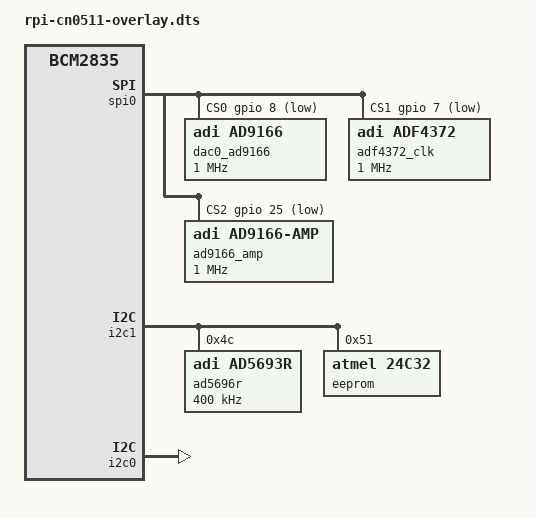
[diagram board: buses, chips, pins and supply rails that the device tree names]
// SPDX-License-Identifier: GPL-2.0
/dts-v1/;
/plugin/;

/ {
	compatible = "brcm,bcm2836", "brcm,bcm2835";

	fragment@0 {
		target-path = "/clocks";
		__overlay__ {
			adf4372_clkin: clock@0 {
				compatible = "fixed-clock";
				#clock-cells = <0>;
				clock-frequency = <122880000>;
				clock-output-names = "clkin";
			};
		};
	};

	fragment@1 {
		target = <&spi0_cs_pins>;
		frag0: __overlay__ {
				brcm,pins = <8 7 25>;
				brcm,function = <1>; //output
		};
	};

	fragment@2 {
		target = <&spi0>;
		frag1: __overlay__ {
			#address-cells = <1>;
			#size-cells = <0>;

			cs-gpios = <&gpio 8 1>, <&gpio 7 1>, <&gpio 25 1>;
			status = "okay";

			dac0_ad9166: ad9166@0 {
				compatible = "adi,ad9166";
				reg = <0>;
				spi-max-frequency = <1000000>;
				clocks = <&adf4372_clk 0>;
				clock-names = "dac_clk";
				spi-cpha;
				spi-cpol;
				adi,standalone-probe;
				adi,dc-test-en;
				dac_clk-clock-scales = <1 10>;
			};

			adf4372_clk: adf4372@1 {
				compatible = "adi,adf4372";
				reg = <1>;

				#address-cells = <1>;
				#clock-cells = <1>;
				#size-cells = <0>;

				spi-max-frequency = <1000000>;
				spi-3wire;
				clocks = <&adf4372_clkin>;
				clock-names = "clkin";
				clock-output-names = "clk-rf8", "clk-rfaux8",
						"clk-rf16";

				adi,muxout-select = <1>;

				channel@0 {
					reg = <0>;
					adi,power-up-frequency = /bits/ 64
								<6000000000>;
				};
			};

			ad9166_amp: ad9166-amp@2 {
				compatible = "adi,ad9166-amp";
				reg = <2>;	// CE2 - gpio25
				spi-cpha;
				spi-cpol;
				spi-max-frequency = <1000000>;
			};
		};
	};

	fragment@3 {
		target = <&spidev0>;
		__overlay__ {
			status = "disabled";
		};
	};

	fragment@4 {
		target = <&spidev1>;
		__overlay__ {
			status = "disabled";
		};
	};

	fragment@5 {
		target = <&i2c1>;
		__overlay__ {
			#address-cells = <1>;
			#size-cells = <0>;
			status = "okay";

			ad5696r@4c {
				compatible = "adi,ad5693r";
				clock-frequency = <400000>;
				reg = <0x4c>;
			};

			eeprom@51 {
				compatible = "atmel,24c32";
				reg = <0x51>;
			};
		};
	};

	fragment@6 {
		target = <&i2c0>;
		__overlay__ {
			#address-cells = <1>;
			#size-cells = <0>;
			status = "okay";
		};
	};

	/* ====== RPi5 Configuration (spi-gpio, 3-wire mode) ====== */

	/* RPi5: Disable hardware SPI0 */
	fragment@10 {
		target = <&spi0>;
		__dormant__ {
			status = "disabled";
		};
	};

	/* RPi5: SPI-GPIO bus with 3-wire mode */
	fragment@11 {
		target-path = "/";
		__dormant__ {
			spi_cn0511: spi-cn0511 {
				compatible = "spi-gpio";
				#address-cells = <1>;
				#size-cells = <0>;

				sck-gpios = <&gpio 11 0>;
				mosi-gpios = <&gpio 10 0>;
				cs-gpios = <&gpio 8 1>,
					   <&gpio 7 1>,
					   <&gpio 25 1>;
				num-chipselects = <3>;

				/* AD9166 DAC - 3-wire mode */
				cn0511_ad9166_pi5: ad9166@0 {
					compatible = "adi,ad9166";
					reg = <0>;
					spi-max-frequency = <1000000>;
					spi-3wire;
					clocks = <&cn0511_adf4372_pi5 0>;
					clock-names = "dac_clk";
					adi,standalone-probe;
					adi,dc-test-en;
					dac_clk-clock-scales = <1 10>;
				};

				/* ADF4372 PLL - 3-wire mode */
				cn0511_adf4372_pi5: adf4372@1 {
					compatible = "adi,adf4372";
					reg = <1>;

					#address-cells = <1>;
					#clock-cells = <1>;
					#size-cells = <0>;

					spi-max-frequency = <1000000>;
					spi-3wire;
					clocks = <&adf4372_clkin>;
					clock-names = "clkin";
					clock-output-names = "clk-rf8", "clk-rfaux8",
							     "clk-rf16";

					adi,muxout-select = <1>;

					channel@0 {
						reg = <0>;
						adi,power-up-frequency = /bits/ 64
									<6000000000>;
					};
				};

				/* AD9166-AMP - 3-wire mode */
				cn0511_amp_pi5: ad9166-amp@2 {
					compatible = "adi,ad9166-amp";
					reg = <2>;
					spi-3wire;
					spi-max-frequency = <1000000>;
				};
			};
		};
	};

	__overrides__ {
		pi5 = <0>,"+10+11",
		      <&dac0_ad9166>,"status=disabled",
		      <&adf4372_clk>,"status=disabled",
		      <&ad9166_amp>,"status=disabled";
	};
};
